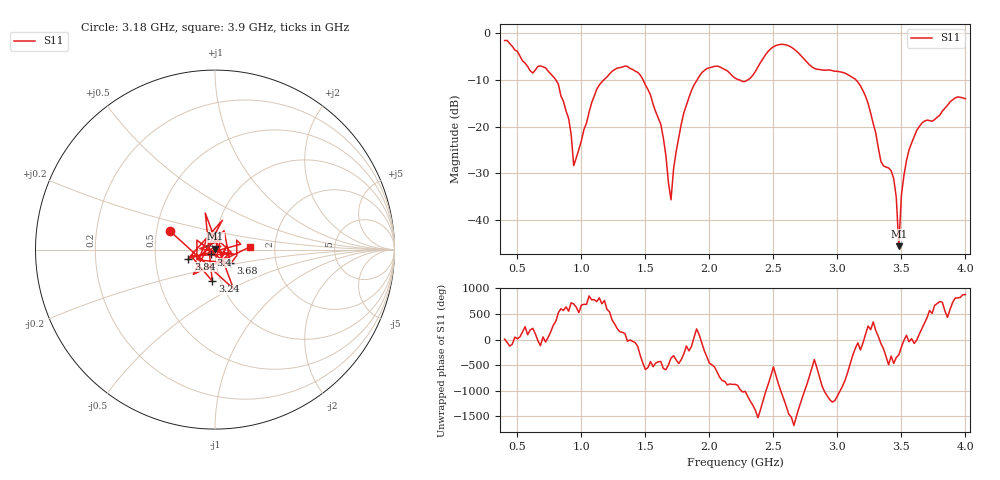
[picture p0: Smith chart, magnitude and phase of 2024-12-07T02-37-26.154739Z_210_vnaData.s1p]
!Created with skrf (http://scikit-rf.org).
# Hz S RI R 50.0
!freq ReS11 ImS11
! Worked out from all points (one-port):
!   181 points, 400 MHz to 4 GHz, reference 50 ohm
!   lowest |S11| = -45.5 dB at 3.48 GHz (marker M1), VSWR 1.01, Z = 50.2 + j0.468 ohm
!   |S11| at or under -10 dB: 799 MHz to 1.177 GHz (377.7 MHz wide, 38.2 % of centre); 1.481 GHz to 1.905 GHz (424.1 MHz wide, 25 % of centre); 3.143 GHz to end of sweep (the widest 3 of 4)
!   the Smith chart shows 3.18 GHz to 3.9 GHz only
!   S11 on the Smith chart (normalised r, x): 3.18 GHz: 0.59, +0.13; 3.24 GHz: 0.91, -0.33; 3.4 GHz: 0.95, -0.05; 3.68 GHz: 1.17, -0.18; 3.84 GHz: 0.74, -0.08; 3.9 GHz: 1.48, +0.04
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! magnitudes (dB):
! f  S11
! 400 MHz  -1.6
! 620 MHz  -8.6
! 720 MHz  -7.5
! 860 MHz  -14.6
! 900 MHz  -18.2
! 940 MHz  -28.3
! 1.12 GHz  -12.0
! 1.3 GHz  -7.4
! 1.54 GHz  -13.3
! 1.62 GHz  -19.5
! 1.7 GHz  -35.6
! 1.76 GHz  -22.5
! 1.94 GHz  -8.5
! 2.2 GHz  -9.6
! 2.66 GHz  -3.4
! 3.1 GHz  -9.2
! 3.18 GHz  -11.3
! 3.24 GHz  -15.1
! 3.34 GHz  -27.4
! 3.4 GHz  -28.8
! 3.46 GHz  -35.1
! 3.48 GHz  -45.5
! 3.5 GHz  -34.7
! 3.56 GHz  -25.0
! 3.68 GHz  -18.9
! 3.84 GHz  -16.1
! 3.9 GHz  -14.3
! 4 GHz  -14.1
